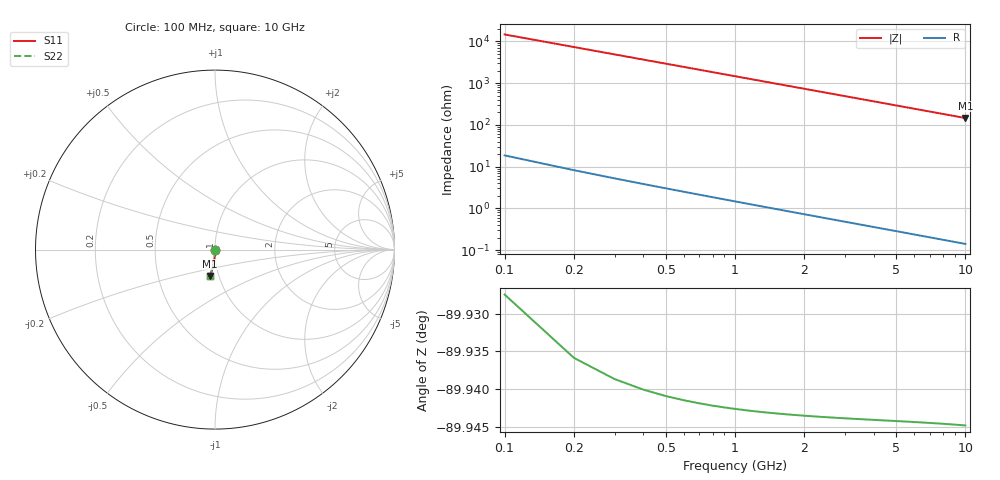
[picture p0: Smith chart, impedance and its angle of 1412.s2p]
# Hz S RI R 50.00
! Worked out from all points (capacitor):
!   100 points, 100 MHz to 10 GHz, reference 50 ohm
!   read as one part in shunt: C = 108 fF near 100 MHz
!   lowest |Z| = 146 ohm at 10 GHz (marker M1)
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1e8  8.91e-05 -0.0015  0.9999 -0.0019  0.9999 -0.0019  8.91e-05 -0.0015
2e8  7.95e-05 -0.00301  0.9999 -0.0038  0.9999 -0.0038  7.95e-05 -0.00301
3e8  6.4e-05 -0.00451  0.9999 -0.0057  0.9999 -0.0057  6.4e-05 -0.00451
4e8  4.28e-05 -0.00602  0.9999 -0.0076  0.9999 -0.0076  4.28e-05 -0.00602
5e8  1.57e-05 -0.00752  0.9998 -0.0095  0.9998 -0.0095  1.57e-05 -0.00752
6e8  -1.71e-05 -0.00903  0.9998 -0.0114  0.9998 -0.0114  -1.71e-05 -0.00903
7e8  -5.57e-05 -0.0105  0.9997 -0.0133  0.9997 -0.0133  -5.57e-05 -0.0105
8e8  -0.0001 -0.012  0.9997 -0.0152  0.9997 -0.0152  -0.0001 -0.012
9e8  -0.00015 -0.0135  0.9996 -0.0171  0.9996 -0.0171  -0.00015 -0.0135
1.1e9  -0.000267 -0.0165  0.9995 -0.0209  0.9995 -0.0209  -0.000267 -0.0165
1.4e9  -0.000486 -0.0211  0.9993 -0.0266  0.9993 -0.0266  -0.000486 -0.0211
1.8e9  -0.000858 -0.0271  0.9989 -0.0342  0.9989 -0.0342  -0.000858 -0.0271
2.1e9  -0.0012 -0.0316  0.9986 -0.0399  0.9986 -0.0399  -0.0012 -0.0316
2.5e9  -0.00173 -0.0376  0.998 -0.0475  0.998 -0.0475  -0.00173 -0.0376
2.9e9  -0.00235 -0.0436  0.9974 -0.0551  0.9974 -0.0551  -0.00235 -0.0436
3.4e9  -0.00326 -0.0511  0.9964 -0.0645  0.9964 -0.0645  -0.00326 -0.0511
4.2e9  -0.00501 -0.063  0.9946 -0.0796  0.9946 -0.0796  -0.00501 -0.063
5.1e9  -0.00741 -0.0763  0.9922 -0.0966  0.9922 -0.0966  -0.00741 -0.0763
5.9e9  -0.00993 -0.0881  0.9896 -0.1116  0.9896 -0.1116  -0.00993 -0.0881
6.7e9  -0.0128 -0.0998  0.9866 -0.1265  0.9866 -0.1265  -0.0128 -0.0998
8.4e9  -0.0201 -0.1243  0.9792 -0.1578  0.9792 -0.1578  -0.0201 -0.1243
1e10  -0.0283 -0.1468  0.9707 -0.1867  0.9707 -0.1867  -0.0283 -0.1468
